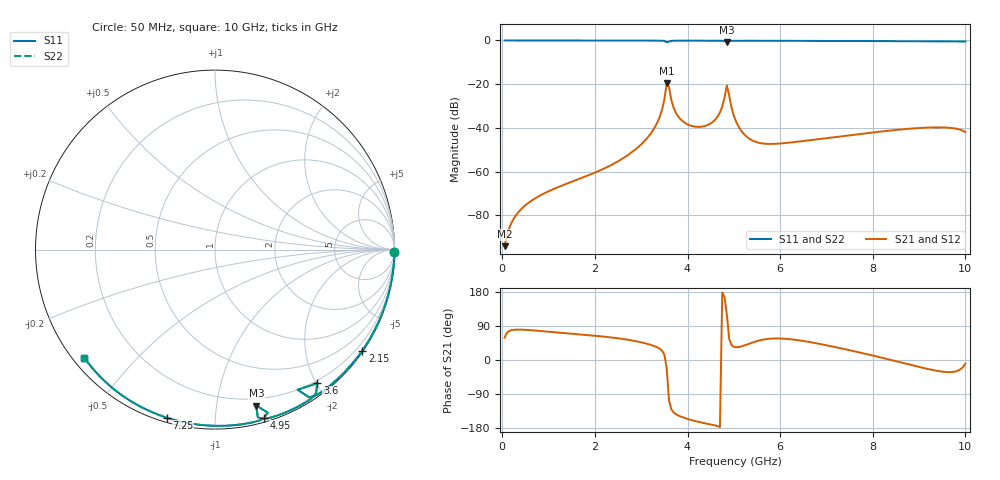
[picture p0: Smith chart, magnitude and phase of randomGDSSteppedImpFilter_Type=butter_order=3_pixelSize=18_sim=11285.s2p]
! freq	dB(S11)	phase(S11)	dB(S12)	phase(S12)
!  dB(S21)	phase(S21)	dB(S22)	phase(S22)
!S-par simulation data
#  GHz  S  DB  R 50
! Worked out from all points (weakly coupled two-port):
!   200 points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, 50 MHz to 10 GHz, reference 50 ohm
!   highest |S21| = -19.67 dB at 3.55 GHz (marker M1); lowest = -94.2 dB at 50 MHz (marker M2)
!   lowest |S11| = -0.9 dB at 4.85 GHz (marker M3), VSWR 18.82, Z = 7.11 - j64.5 ohm
!   |S11| at or under -10 dB: nowhere
!   |S22| runs from -0.9 to 0.0 dB; largest |S21 - S12| = 0
!   S11 on the Smith chart (normalised r, x): 50 MHz: open; 2.15 GHz: 0.03, -3.23; 3.6 GHz: 0.16, -2.01; 4.95 GHz: 0.03, -1.33; 7.25 GHz: 0.02, -0.75; 10 GHz: 0.03, -0.36
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0.05  -0.00 -0.8  -94.15 58.8  -94.15 58.8  -0.00 -0.8
0.3  -0.00 -4.9  -79.89 80.1  -79.89 80.1  -0.00 -4.9
1.75  -0.04 -28.1  -62.64 66.5  -62.64 66.5  -0.04 -28.2
2.15  -0.04 -34.4  -59.09 62.2  -59.09 62.2  -0.04 -34.4
2.95  -0.06 -46.9  -48.55 48.0  -48.55 48.0  -0.06 -46.9
3.4  -0.10 -54.6  -34.91 29.7  -34.91 29.7  -0.10 -54.6
3.55  -0.85 -59.4  -19.67 -21.6  -19.67 -21.6  -0.86 -59.5
3.6  -0.56 -52.6  -21.39 -106.1  -21.39 -106.1  -0.56 -52.5
3.7  -0.13 -56.4  -30.82 -138.3  -30.82 -138.3  -0.13 -56.4
3.8  -0.10 -58.5  -34.82 -146.4  -34.82 -146.4  -0.10 -58.5
4.25  -0.10 -65.7  -39.55 -163.7  -39.55 -163.7  -0.10 -65.7
4.65  -0.13 -72.0  -34.82 -174.5  -34.82 -174.5  -0.13 -72.0
4.75  -0.18 -74.1  -30.27 178.2  -30.27 178.2  -0.18 -74.2
4.85  -0.92 -75.1  -20.63 118.6  -20.63 118.6  -0.93 -75.2
4.95  -0.20 -73.8  -30.73 39.3  -30.73 39.3  -0.20 -73.8
5.05  -0.14 -76.0  -37.19 33.7  -37.19 33.7  -0.14 -76.0
5.25  -0.13 -79.2  -43.52 39.3  -43.52 39.3  -0.13 -79.2
5.55  -0.14 -83.5  -46.89 51.5  -46.89 51.5  -0.14 -83.5
6.7  -0.19 -98.9  -45.49 46.0  -45.49 46.0  -0.19 -98.9
7.25  -0.23 -106.0  -44.03 32.5  -44.03 32.5  -0.23 -106.1
8.35  -0.31 -119.9  -41.29 1.5  -41.29 1.5  -0.31 -119.9
10  -0.49 -140.4  -41.91 -9.5  -41.91 -9.5  -0.49 -140.4
